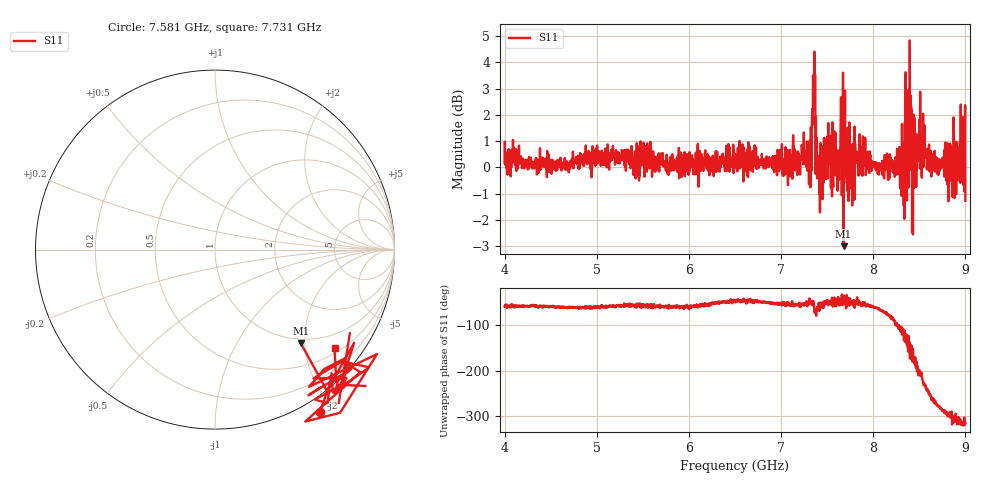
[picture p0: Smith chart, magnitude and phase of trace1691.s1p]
! Created with skrf 1.8.0 (http://scikit-rf.org).
# Hz S RI R 50.0
!freq ReS11 ImS11
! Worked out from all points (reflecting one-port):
!   1601 points, 4 GHz to 9 GHz, reference 50 ohm
!   lowest |S11| = -3.0 dB at 7.678 GHz (marker M1), VSWR 5.85, Z = 45.8 - j95.8 ohm
!   phase of S11 starts at -58 deg and turns -257 deg over the sweep
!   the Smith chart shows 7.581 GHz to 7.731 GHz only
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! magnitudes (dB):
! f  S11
! 4 GHz  0.2
! 4.625 GHz  0.0
! 5.25 GHz  0.2
! 5.875 GHz  0.3
! 6.5 GHz  0.5
! 7.125 GHz  0.4
! 7.294 GHz  0.2
! 7.319 GHz  -0.8
! 7.347 GHz  3.5
! 7.372 GHz  2.3
! 7.4 GHz  0.4
! 7.428 GHz  0.9
! 7.512 GHz  1.7
! 7.609 GHz  0.2
! 7.65 GHz  2.7
! 7.678 GHz  -3.0
! 7.75 GHz  -0.8
! 7.828 GHz  0.4
! 8.097 GHz  0.3
! 8.262 GHz  -0.3
! 8.316 GHz  0.3
! 8.375 GHz  0.9
! 8.394 GHz  1.4
! 8.447 GHz  1.9
! 8.497 GHz  0.9
! 8.794 GHz  -0.5
! 8.972 GHz  0.2
! 9 GHz  -1.3
